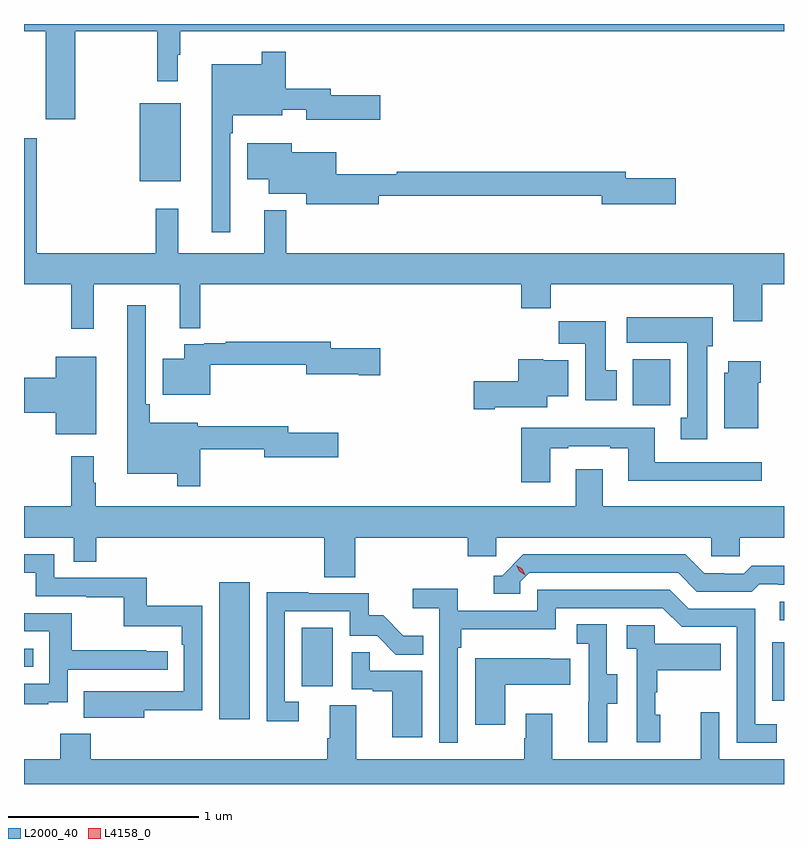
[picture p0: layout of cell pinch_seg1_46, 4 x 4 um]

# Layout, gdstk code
import gdstk
lib = gdstk.Library(unit=1e-6, precision=1e-09)
def R(c, l, rs):  # rectangles x0, y0, x1, y1
    for r in rs: c.add(gdstk.rectangle(r[:2], r[2:], *l))
def P(c, l, *ps):  # polygons
    for p in ps: c.add(gdstk.Polygon(p, *l))
L2000_40 = (2000, 40)
L4158_0 = (4158, 0)

pinch_seg1_46 = lib.new_cell('pinch_seg1_46')
R(pinch_seg1_46, L2000_40, [(1103.057,564.096,1103.218,564.817), (1105.968,564.192,1106.03,564.502), (1103.492,564.27,1103.656,564.577), (1102.03,564.372,1102.079,564.468), (1106.007,564.618,1106.03,564.714), (1105.235,565.748,1105.432,565.99), (1102.64,566.927,1102.855,567.337)])
P(pinch_seg1_46, L2000_40, [(1102.299,567.716),(1102.731,567.716),(1102.731,567.453),(1102.84,567.453),(1102.84,567.593),(1102.852,567.593),(1102.852,567.716),(1106.03,567.716),(1106.03,567.755),(1102.03,567.755),(1102.03,567.716),(1102.144,567.716),(1102.144,567.255),(1102.299,567.255)],
  [(1103.115,567.179),(1103.128,567.179),(1103.128,567.275),(1103.389,567.275),(1103.389,567.305),(1103.516,567.305),(1103.516,567.251),(1103.905,567.251),(1103.905,567.381),(1103.644,567.381),(1103.644,567.415),(1103.408,567.415),(1103.408,567.61),(1103.28,567.61),(1103.28,567.544),(1103.018,567.544),(1103.018,566.658),(1103.115,566.658)],
  [(1102.397,566.384),(1102.85,566.384),(1102.85,566.155),(1102.958,566.155),(1102.958,566.384),(1104.647,566.384),(1104.647,566.26),(1104.803,566.26),(1104.803,566.384),(1105.763,566.384),(1105.763,566.19),(1105.916,566.19),(1105.916,566.384),(1106.03,566.384),(1106.03,566.548),(1103.411,566.548),(1103.411,566.776),(1103.294,566.776),(1103.294,566.548),(1102.841,566.548),(1102.841,566.782),(1102.723,566.782),(1102.723,566.548),(1102.096,566.548),(1102.096,567.154),(1102.03,567.154),(1102.03,566.384),(1102.279,566.384),(1102.279,566.151),(1102.397,566.151)],
  [(1103.896,566.85),(1105.07,566.85),(1105.07,566.807),(1105.459,566.807),(1105.459,566.942),(1105.198,566.942),(1105.198,566.978),(1103.992,566.978),(1103.992,566.963),(1103.674,566.963),(1103.674,567.079),(1103.44,567.079),(1103.44,567.127),(1103.204,567.127),(1103.204,566.939),(1103.318,566.939),(1103.318,566.861),(1103.516,566.861),(1103.516,566.807),(1103.896,566.807)],
  [(1102.957,565.518),(1103.294,565.518),(1103.294,565.475),(1103.683,565.475),(1103.683,565.605),(1103.422,565.605),(1103.422,565.639),(1102.945,565.639),(1102.945,565.657),(1102.691,565.657),(1102.691,565.753),(1102.671,565.753),(1102.671,566.275),(1102.574,566.275),(1102.574,565.388),(1102.836,565.388),(1102.836,565.323),(1102.957,565.323)],
  [(1105.627,566.058),(1105.654,566.058),(1105.654,566.212),(1105.203,566.212),(1105.203,566.078),(1105.52,566.078),(1105.52,565.682),(1105.487,565.682),(1105.487,565.569),(1105.627,565.569)],
  [(1105.15,565.932),(1105.093,565.932),(1105.093,566.191),(1104.844,566.191),(1104.844,566.072),(1104.983,566.072),(1104.983,565.776),(1105.15,565.776)],
  [(1103.009,565.962),(1103.516,565.962),(1103.516,565.912),(1103.792,565.912),(1103.792,565.907),(1103.905,565.907),(1103.905,566.049),(1103.644,566.049),(1103.644,566.083),(1103.092,566.083),(1103.092,566.076),(1102.978,566.076),(1102.978,566.07),(1102.874,566.07),(1102.874,565.993),(1102.76,565.993),(1102.76,565.805),(1103.009,565.805)],
  [(1102.411,566.005),(1102.196,566.005),(1102.196,565.892),(1102.03,565.892),(1102.03,565.709),(1102.196,565.709),(1102.196,565.595),(1102.411,565.595)],
  [(1104.508,565.739),(1104.784,565.739),(1104.784,565.796),(1104.895,565.796),(1104.895,565.984),(1104.762,565.984),(1104.762,565.99),(1104.632,565.99),(1104.632,565.874),(1104.396,565.874),(1104.396,565.727),(1104.508,565.727)],
  [(1105.894,565.868),(1105.907,565.868),(1105.907,565.981),(1105.736,565.981),(1105.736,565.92),(1105.715,565.92),(1105.715,565.628),(1105.894,565.628)],
  [(1104.799,565.521),(1104.895,565.521),(1104.895,565.533),(1105.115,565.533),(1105.115,565.521),(1105.211,565.521),(1105.211,565.352),(1105.912,565.352),(1105.912,565.449),(1105.351,565.449),(1105.351,565.63),(1104.647,565.63),(1104.647,565.344),(1104.799,565.344)],
  [(1103.774,565.052),(1104.365,565.052),(1104.365,564.954),(1104.516,564.954),(1104.516,565.052),(1105.647,565.052),(1105.647,564.954),(1105.797,564.954),(1105.797,565.052),(1106.03,565.052),(1106.03,565.216),(1105.075,565.216),(1105.075,565.411),(1104.935,565.411),(1104.935,565.216),(1102.408,565.216),(1102.408,565.34),(1102.396,565.34),(1102.396,565.48),(1102.279,565.48),(1102.279,565.216),(1102.03,565.216),(1102.03,565.052),(1102.293,565.052),(1102.293,564.925),(1102.409,564.925),(1102.409,565.052),(1103.609,565.052),(1103.609,564.844),(1103.774,564.844)],
  [(1104.642,564.819),(1104.69,564.867),(1105.473,564.867),(1105.572,564.768),(1105.861,564.768),(1105.9,564.807),(1105.999,564.807),(1105.999,564.804),(1106.03,564.804),(1106.03,564.904),(1105.861,564.904),(1105.819,564.861),(1105.716,564.861),(1105.716,564.864),(1105.609,564.864),(1105.51,564.963),(1104.657,564.963),(1104.546,564.852),(1104.503,564.852),(1104.503,564.756),(1104.642,564.756)],
  [(1102.663,564.142),(1102.968,564.142),(1102.968,564.694),(1102.675,564.694),(1102.675,564.84),(1102.188,564.84),(1102.188,564.963),(1102.03,564.963),(1102.03,564.867),(1102.092,564.867),(1102.092,564.744),(1102.357,564.744),(1102.357,564.739),(1102.554,564.739),(1102.554,564.584),(1102.859,564.584),(1102.859,564.488),(1102.872,564.488),(1102.872,564.243),(1102.559,564.243),(1102.559,564.244),(1102.345,564.244),(1102.345,564.104),(1102.663,564.104)],
  [(1104.312,564.473),(1104.332,564.473),(1104.332,564.569),(1104.828,564.569),(1104.828,564.681),(1105.392,564.681),(1105.491,564.582),(1105.782,564.582),(1105.782,563.973),(1105.991,563.973),(1105.991,564.069),(1105.878,564.069),(1105.878,564.678),(1105.528,564.678),(1105.429,564.777),(1104.732,564.777),(1104.732,564.666),(1104.314,564.666),(1104.314,564.782),(1104.075,564.782),(1104.075,564.68),(1104.216,564.68),(1104.216,563.973),(1104.312,563.973)],
  [(1103.476,564.189),(1103.403,564.189),(1103.403,564.663),(1103.745,564.663),(1103.745,564.534),(1103.889,564.534),(1103.987,564.436),(1104.131,564.436),(1104.131,564.535),(1104.027,564.535),(1103.92,564.642),(1103.844,564.642),(1103.844,564.759),(1103.525,564.759),(1103.525,564.764),(1103.307,564.764),(1103.307,564.084),(1103.476,564.084)],
  [(1102.157,564.185),(1102.26,564.185),(1102.26,564.357),(1102.786,564.357),(1102.786,564.453),(1102.673,564.453),(1102.673,564.458),(1102.28,564.458),(1102.28,564.654),(1102.03,564.654),(1102.03,564.558),(1102.164,564.558),(1102.164,564.282),(1102.03,564.282),(1102.03,564.174),(1102.157,564.174)],
  [(1105.099,564.178),(1105.153,564.178),(1105.153,564.333),(1105.098,564.333),(1105.098,564.596),(1104.939,564.596),(1104.939,564.493),(1105.002,564.493),(1105.002,564.189),(1105.001,564.189),(1105.001,563.976),(1105.099,563.976)],
  [(1105.378,564.12),(1105.353,564.12),(1105.353,564.239),(1105.363,564.239),(1105.363,564.353),(1105.697,564.353),(1105.697,564.493),(1105.35,564.493),(1105.35,564.591),(1105.203,564.591),(1105.203,564.467),(1105.254,564.467),(1105.254,563.976),(1105.378,563.976)],
  [(1104.127,564.351),(1103.849,564.351),(1103.849,564.449),(1103.754,564.449),(1103.754,564.255),(1103.865,564.255),(1103.865,564.243),(1103.969,564.243),(1103.969,564),(1104.127,564)],
  [(1104.562,564.278),(1104.905,564.278),(1104.905,564.415),(1104.797,564.415),(1104.797,564.418),(1104.404,564.418),(1104.404,564.066),(1104.562,564.066)],
  [(1106.03,563.884),(1105.689,563.884),(1105.689,564.133),(1105.592,564.133),(1105.592,563.884),(1104.811,563.884),(1104.811,564.124),(1104.671,564.124),(1104.671,563.996),(1104.664,563.996),(1104.664,563.884),(1103.779,563.884),(1103.779,564.17),(1103.639,564.17),(1103.639,563.996),(1103.627,563.996),(1103.627,563.884),(1102.382,563.884),(1102.382,564.019),(1102.222,564.019),(1102.222,563.884),(1102.03,563.884),(1102.03,563.755),(1106.03,563.755)])
P(pinch_seg1_46, L4158_0, [(1104.668,564.854),(1104.637,564.874),(1104.62,564.906),(1104.62,564.907),(1104.621,564.907),(1104.652,564.887),(1104.668,564.855),(1104.668,564.854)])

lib.write_gds('pinch_seg1_46.gds')
